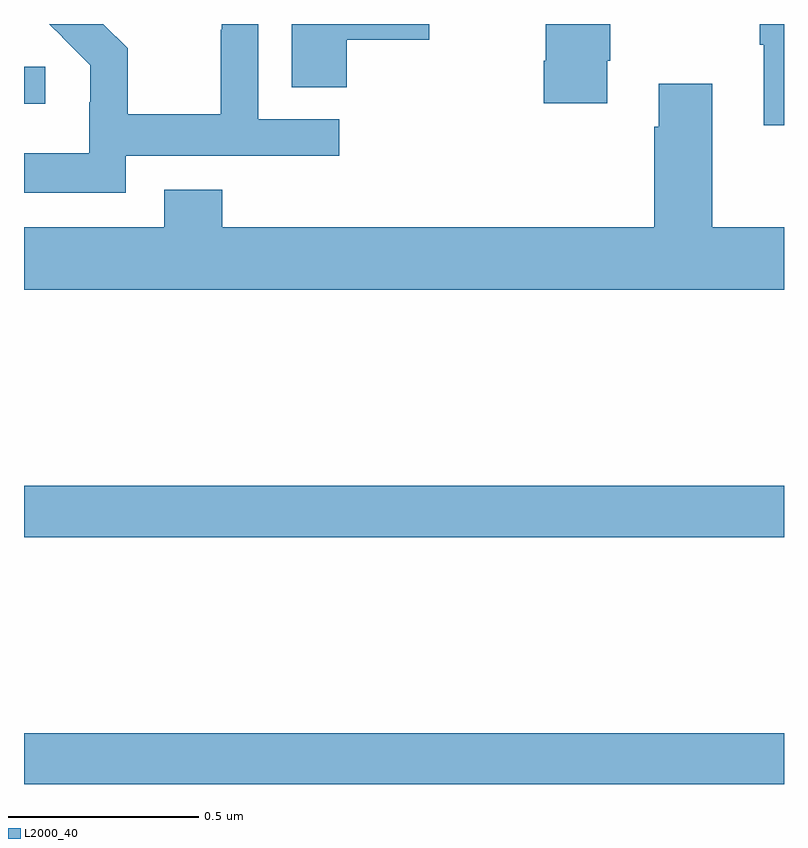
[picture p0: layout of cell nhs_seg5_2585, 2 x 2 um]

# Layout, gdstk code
import gdstk
lib = gdstk.Library(unit=1e-6, precision=1e-09)
def R(c, l, rs):  # rectangles x0, y0, x1, y1
    for r in rs: c.add(gdstk.rectangle(r[:2], r[2:], *l))
def P(c, l, *ps):  # polygons
    for p in ps: c.add(gdstk.Polygon(p, *l))
L2000_40 = (2000, 40)

nhs_seg5_2585 = lib.new_cell('nhs_seg5_2585')
R(nhs_seg5_2585, L2000_40, [(146,848.799,148,848.932), (146,849.448,148,849.584), (146,850.589,146.056,850.686)])
P(nhs_seg5_2585, L2000_40, [(146.268,850.452),(146.83,850.452),(146.83,850.548),(146.616,850.548),(146.616,850.799),(146.52,850.799),(146.52,850.784),(146.518,850.784),(146.518,850.561),(146.273,850.561),(146.273,850.735),(146.209,850.799),(146.067,850.799),(146.101,850.765),(146.1,850.764),(146.174,850.69),(146.174,850.593),(146.172,850.593),(146.172,850.459),(146,850.459),(146,850.355),(146.268,850.355)],
  [(148,850.799),(147.936,850.799),(147.936,850.745),(147.947,850.745),(147.947,850.533),(148,850.533)],
  [(147.535,850.702),(147.543,850.702),(147.543,850.799),(147.373,850.799),(147.373,850.702),(147.368,850.702),(147.368,850.59),(147.535,850.59)],
  [(146.849,850.757),(147.067,850.757),(147.067,850.799),(146.705,850.799),(146.705,850.633),(146.849,850.633)],
  [(148,850.264),(147.811,850.264),(147.811,850.642),(147.671,850.642),(147.671,850.529),(147.659,850.529),(147.659,850.264),(146.522,850.264),(146.522,850.363),(146.369,850.363),(146.369,850.264),(146,850.264),(146,850.1),(148,850.1)])

lib.write_gds('nhs_seg5_2585.gds')
